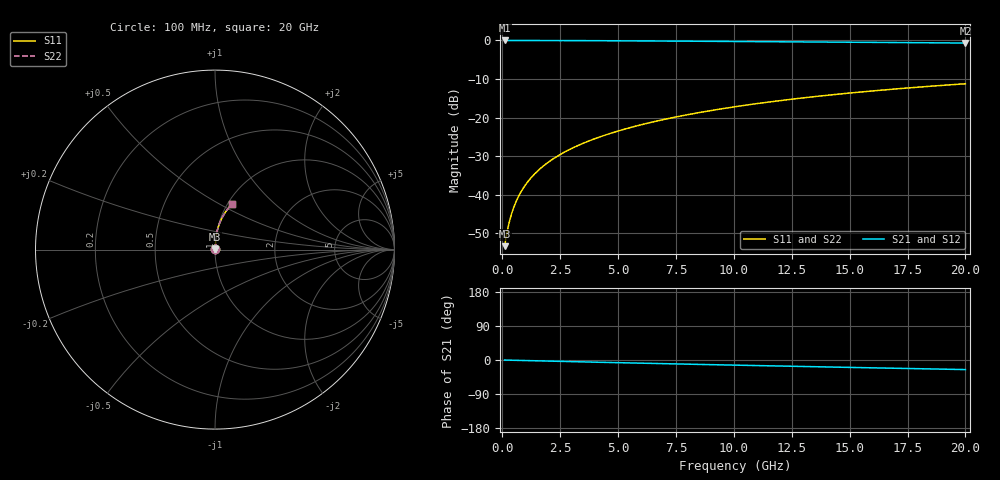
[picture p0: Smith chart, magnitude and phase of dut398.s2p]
! Touchstone file exported from HFSS 2024.1.0
!  File:  C:/UserFiles/LocalFiles/RDL_TSV_Batchsim/temp_RDL_top_398_1779610098.aedt
!  Generated:  04:10:30 PM May 24, 2026
!  Design:  RDL_top
!  Project:  temp_RDL_top_398_1779610098
!  Setup:  Setup1
!  Solution:  Sweep
! Variables:
!  dtsv = 10.80580581um
!  hbump = 3um
!  htsv = 64.71um
!  ldown = 100um
!  lrdl = 330.78um
!  p = 40
!  p1 = 47.64um
!  rhole = 1um
!  t = 450um
!  tdown = 3.915915916um
!  trdl = 4.42um
!  wdown = 15.38538539um
!  wrdl = 17.92um
# GHz S MA R 50.000000
! Terminal data exported
! Port[1] = Box2_T1
! Port[2] = Box2_T2
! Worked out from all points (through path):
!   200 points, 100 MHz to 20 GHz, reference 50 ohm
!   highest |S21| = -0.01 dB at 100 MHz (marker M1); lowest = -0.7 dB at 20 GHz (marker M2)
!   group delay of S21, straight-line fit = 3.48 ps
!   lowest |S11| = -53.4 dB at 100 MHz (marker M3), VSWR 1.00, Z = 50.2 + j0.141 ohm
!   |S11| at or under -10 dB: start of sweep to end of sweep
!   |S22| runs from -53.4 to -11.2 dB; largest |S21 - S12| = 2e-15
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0.1  0.002147 40.9  0.9984 -0.2  0.9984 -0.2  0.002147 40.9
! Gamma 0 0 0 0
! Port Impedance 50 0 50 0
0.2  0.003215 58.3  0.9983 -0.3  0.9983 -0.3  0.003215 58.3
0.3  0.004399 66.8  0.9982 -0.4  0.9982 -0.4  0.004399 66.8
0.4  0.005634 71.8  0.9981 -0.6  0.9981 -0.6  0.005634 71.8
0.5  0.006898 75.0  0.998 -0.7  0.998 -0.7  0.006898 75.0
0.6  0.008179 77.2  0.998 -0.9  0.998 -0.9  0.008179 77.2
0.8  0.01077 80.0  0.9978 -1.2  0.9978 -1.2  0.01077 80.0
1.1  0.01469 82.3  0.9975 -1.6  0.9975 -1.6  0.01469 82.3
1.5  0.01994 83.8  0.997 -2.2  0.997 -2.2  0.01994 83.8
1.8  0.02388 84.5  0.9966 -2.6  0.9966 -2.6  0.02388 84.5
2.1  0.02784 84.9  0.9961 -3.0  0.9961 -3.0  0.02784 84.9
2.7  0.03578 85.4  0.9948 -3.9  0.9948 -3.9  0.03578 85.4
3.5  0.04645 85.5  0.9928 -5.0  0.9928 -5.0  0.04645 85.5
4.2  0.05589 85.4  0.9908 -6.0  0.9908 -6.0  0.05589 85.4
5  0.06681 85.1  0.9882 -7.1  0.9882 -7.1  0.06681 85.2
5.9  0.07924 84.7  0.9851 -8.3  0.9851 -8.3  0.07925 84.7
6.8  0.09183 84.0  0.9817 -9.5  0.9817 -9.5  0.09184 84.0
8.4  0.1145 82.6  0.9755 -11.5  0.9755 -11.5  0.1145 82.7
10.1  0.1387 80.9  0.9685 -13.7  0.9685 -13.7  0.1387 80.9
13.4  0.1855 77.1  0.9545 -17.7  0.9545 -17.7  0.1855 77.1
16.7  0.2308 73.1  0.9398 -21.5  0.9398 -21.5  0.2308 73.1
20  0.274 69.2  0.9245 -25.3  0.9245 -25.3  0.274 69.2
